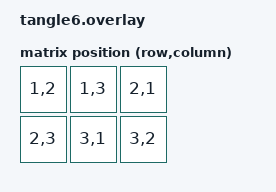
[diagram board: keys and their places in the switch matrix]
#include <dt-bindings/zmk/matrix_transform.h>
#include <physical_layouts.dtsi>

/ {
    chosen {
        zmk,kscan = &kscan0;
        zmk,matrix-transform = &default_transform;
    };

    kscan0: kscan {
        compatible = "zmk,kscan-gpio-charlieplex";
        wakeup-source;
        interrupt-gpios = <&xiao_d 1 (GPIO_ACTIVE_HIGH | GPIO_PULL_DOWN)>;
        gpios
            = <&xiao_d 1 GPIO_ACTIVE_HIGH> 
            , <&xiao_d 2 GPIO_ACTIVE_HIGH> 
            , <&xiao_d 3 GPIO_ACTIVE_HIGH> 
            , <&gpio0 10 GPIO_ACTIVE_HIGH>		
            ;
    };

    default_transform: matrix_transform {
        compatible = "zmk,matrix-transform";
        rows = <2>;
        columns = <3>;
        //  A  B  C
        //   D  E  F
        map = <
            RC(1,2) RC(1,3) RC(2,1)
              RC(2,3) RC(3,1) RC(3,2)
        >;
    };

    physical_layout0: physical_layout_0 { // First physical layout, use different naming for other layouts
        compatible = "zmk,physical-layout";
        display-name = "Default Layout";
        kscan = <&kscan0>;
        transform = <&default_transform>;

        keys  //                     w   h    x    y     rot    rx    ry
            = <&key_physical_attrs 100 100    0    0       0     0     0>
            , <&key_physical_attrs 100 100  100    0       0     0     0>
            , <&key_physical_attrs 100 100  200    0       0     0     0>

            , <&key_physical_attrs 100 100    0  100       0     0     0>
            , <&key_physical_attrs 100 100  100  100       0     0     0>
            , <&key_physical_attrs 100 100  200  100       0     0     0>
            ;
    };
};

&xiao_serial { status = "disabled"; };
